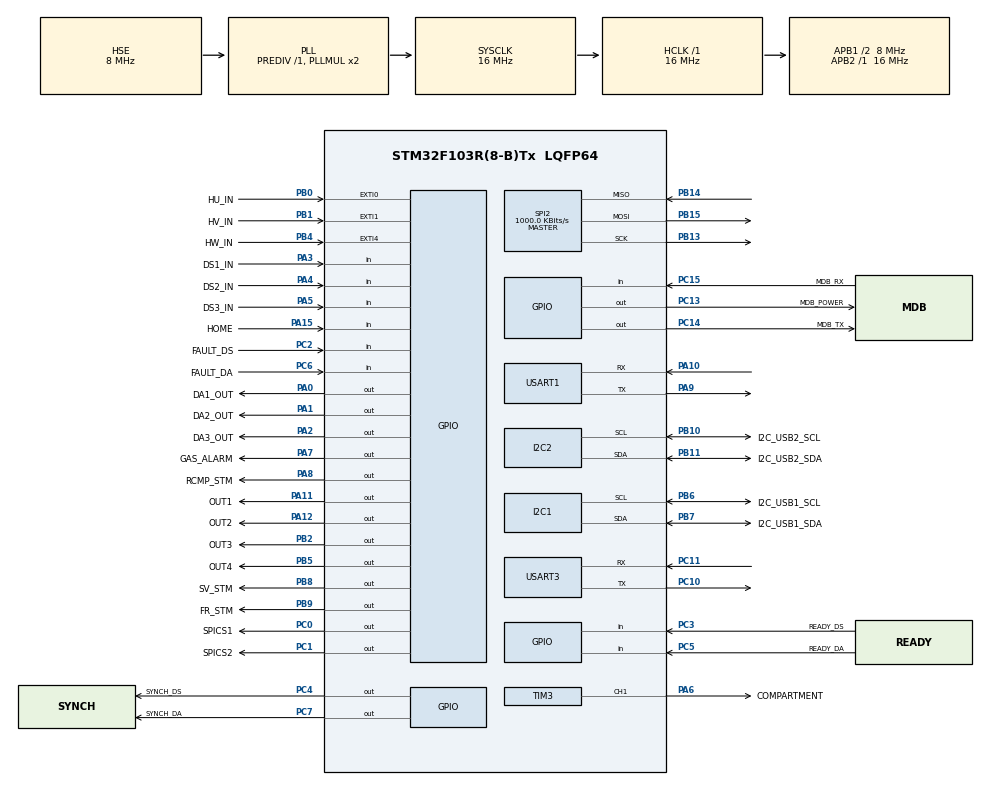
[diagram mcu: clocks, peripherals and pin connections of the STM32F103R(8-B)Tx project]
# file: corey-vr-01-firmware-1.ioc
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Dma.Request0=USART1_TX
Dma.Request1=USART3_TX
Dma.Request2=USART1_RX
Dma.Request3=USART3_RX
Dma.USART1_RX.2.Direction=DMA_PERIPH_TO_MEMORY
Dma.USART1_RX.2.Instance=DMA1_Channel5
Dma.USART1_RX.2.MemDataAlignment=DMA_MDATAALIGN_BYTE
Dma.USART1_RX.2.MemInc=DMA_MINC_ENABLE
Dma.USART1_RX.2.Mode=DMA_CIRCULAR
Dma.USART1_RX.2.PeriphDataAlignment=DMA_PDATAALIGN_BYTE
Dma.USART1_RX.2.PeriphInc=DMA_PINC_DISABLE
Dma.USART1_RX.2.Priority=DMA_PRIORITY_LOW
Dma.USART1_TX.0.Direction=DMA_MEMORY_TO_PERIPH
Dma.USART1_TX.0.Instance=DMA1_Channel4
Dma.USART1_TX.0.MemDataAlignment=DMA_MDATAALIGN_BYTE
Dma.USART1_TX.0.MemInc=DMA_MINC_ENABLE
Dma.USART1_TX.0.Mode=DMA_NORMAL
Dma.USART1_TX.0.PeriphDataAlignment=DMA_PDATAALIGN_BYTE
Dma.USART1_TX.0.PeriphInc=DMA_PINC_DISABLE
Dma.USART1_TX.0.Priority=DMA_PRIORITY_LOW
Dma.USART3_RX.3.Direction=DMA_PERIPH_TO_MEMORY
Dma.USART3_RX.3.Instance=DMA1_Channel3
Dma.USART3_RX.3.MemDataAlignment=DMA_MDATAALIGN_BYTE
Dma.USART3_RX.3.MemInc=DMA_MINC_ENABLE
Dma.USART3_RX.3.Mode=DMA_CIRCULAR
Dma.USART3_RX.3.PeriphDataAlignment=DMA_PDATAALIGN_BYTE
Dma.USART3_RX.3.PeriphInc=DMA_PINC_DISABLE
Dma.USART3_RX.3.Priority=DMA_PRIORITY_LOW
Dma.USART3_TX.1.Direction=DMA_MEMORY_TO_PERIPH
Dma.USART3_TX.1.Instance=DMA1_Channel2
Dma.USART3_TX.1.MemDataAlignment=DMA_MDATAALIGN_BYTE
Dma.USART3_TX.1.MemInc=DMA_MINC_ENABLE
Dma.USART3_TX.1.Mode=DMA_NORMAL
Dma.USART3_TX.1.PeriphDataAlignment=DMA_PDATAALIGN_BYTE
Dma.USART3_TX.1.PeriphInc=DMA_PINC_DISABLE
Dma.USART3_TX.1.Priority=DMA_PRIORITY_LOW
Mcu.Family=STM32F1
Mcu.Name=STM32F103R(8-B)Tx
Mcu.Package=LQFP64
NVIC.DMA1_Channel2_IRQn=true\:0\:0\:false\:false\:true\:false\:true\:true
NVIC.DMA1_Channel3_IRQn=true\:0\:0\:false\:false\:true\:false\:true\:true
NVIC.DMA1_Channel4_IRQn=true\:0\:0\:false\:false\:true\:false\:true\:true
NVIC.DMA1_Channel5_IRQn=true\:0\:0\:false\:false\:true\:false\:true\:true
NVIC.EXTI0_IRQn=true\:5\:0\:true\:false\:true\:true\:true\:true
NVIC.EXTI1_IRQn=true\:5\:0\:true\:false\:true\:true\:true\:true
NVIC.EXTI4_IRQn=true\:5\:0\:true\:false\:true\:true\:true\:true
NVIC.PriorityGroup=NVIC_PRIORITYGROUP_4
NVIC.USART1_IRQn=true\:0\:0\:false\:false\:true\:true\:true\:true
NVIC.USART3_IRQn=true\:0\:0\:false\:false\:true\:true\:true\:true
PA0-WKUP.GPIO_Label=DA1_OUT
PA0-WKUP.Signal=GPIO_Output
PA1.GPIO_Label=DA2_OUT
PA1.Signal=GPIO_Output
PA10.Mode=Asynchronous
PA10.Signal=USART1_RX
PA11.GPIO_Label=OUT1
PA11.Signal=GPIO_Output
PA12.GPIO_Label=OUT2
PA12.Signal=GPIO_Output
PA13.Mode=Trace_Asynchronous_SW
PA13.Signal=SYS_JTMS-SWDIO
PA14.Mode=Trace_Asynchronous_SW
PA14.Signal=SYS_JTCK-SWCLK
PA15.GPIO_Label=HOME
PA15.Signal=GPIO_Input
PA2.GPIO_Label=DA3_OUT
PA2.Signal=GPIO_Output
PA3.GPIO_Label=DS1_IN
PA3.Signal=GPIO_Input
PA4.GPIO_Label=DS2_IN
PA4.Signal=GPIO_Input
PA5.GPIO_Label=DS3_IN
PA5.Signal=GPIO_Input
PA6.GPIO_Label=COMPARTMENT
PA6.Signal=S_TIM3_CH1
PA7.GPIO_Label=GAS_ALARM
PA7.Signal=GPIO_Output
PA8.GPIO_Label=RCMP_STM
PA8.Signal=GPIO_Output
PA9.Mode=Asynchronous
PA9.Signal=USART1_TX
PB0.GPIO_Label=HU_IN
PB0.GPIO_ModeDefaultEXTI=GPIO_MODE_IT_RISING
PB0.Signal=GPXTI0
PB1.GPIO_Label=HV_IN
PB1.GPIO_ModeDefaultEXTI=GPIO_MODE_IT_RISING
PB1.Signal=GPXTI1
PB10.GPIO_Label=I2C_USB2_SCL
PB10.Mode=I2C
PB10.Signal=I2C2_SCL
PB11.GPIO_Label=I2C_USB2_SDA
PB11.Mode=I2C
PB11.Signal=I2C2_SDA
PB13.Mode=Full_Duplex_Master
PB13.Signal=SPI2_SCK
PB14.Mode=Full_Duplex_Master
PB14.Signal=SPI2_MISO
PB15.Mode=Full_Duplex_Master
PB15.Signal=SPI2_MOSI
PB2.GPIO_Label=OUT3
PB2.Signal=GPIO_Output
PB3.Mode=Trace_Asynchronous_SW
PB3.Signal=SYS_JTDO-TRACESWO
PB4.GPIO_Label=HW_IN
PB4.GPIO_ModeDefaultEXTI=GPIO_MODE_IT_RISING
PB4.Signal=GPXTI4
PB5.GPIO_Label=OUT4
PB5.Signal=GPIO_Output
PB6.GPIO_Label=I2C_USB1_SCL
PB6.Mode=I2C
PB6.Signal=I2C1_SCL
PB7.GPIO_Label=I2C_USB1_SDA
PB7.Mode=I2C
PB7.Signal=I2C1_SDA
PB8.GPIO_Label=SV_STM
PB8.Signal=GPIO_Output
PB9.GPIO_Label=FR_STM
PB9.Signal=GPIO_Output
PC0.GPIO_Label=SPICS1
PC0.Signal=GPIO_Output
PC1.GPIO_Label=SPICS2
PC1.Signal=GPIO_Output
PC10.Mode=Asynchronous
PC10.Signal=USART3_TX
PC11.Mode=Asynchronous
PC11.Signal=USART3_RX
PC13-TAMPER-RTC.GPIO_Label=MDB_POWER
PC13-TAMPER-RTC.Signal=GPIO_Output
PC14-OSC32_IN.GPIO_Label=MDB_TX
PC14-OSC32_IN.Signal=GPIO_Output
PC15-OSC32_OUT.GPIO_Label=MDB_RX
PC15-OSC32_OUT.Signal=GPIO_Input
PC2.GPIO_Label=FAULT_DS
PC2.Signal=GPIO_Input
PC3.GPIO_Label=READY_DS
PC3.Signal=GPIO_Input
PC4.GPIO_Label=SYNCH_DS
PC4.Signal=GPIO_Output
PC5.GPIO_Label=READY_DA
PC5.Signal=GPIO_Input
PC6.GPIO_Label=FAULT_DA
PC6.Signal=GPIO_Input
PC7.GPIO_Label=SYNCH_DA
PC7.Signal=GPIO_Output
PD0-OSC_IN.Mode=HSE-External-Oscillator
PD0-OSC_IN.Signal=RCC_OSC_IN
PD1-OSC_OUT.Mode=HSE-External-Oscillator
PD1-OSC_OUT.Signal=RCC_OSC_OUT
ProjectManager.HeapSize=0x200
ProjectManager.StackSize=0x400
ProjectManager.TargetToolchain=CMake
RCC.AHBFreq_Value=16000000
RCC.APB1CLKDivider=RCC_HCLK_DIV2
RCC.APB1Freq_Value=8000000
RCC.APB1TimFreq_Value=16000000
RCC.APB2Freq_Value=16000000
RCC.APB2TimFreq_Value=16000000
RCC.HCLKFreq_Value=16000000
RCC.PLLSourceVirtual=RCC_PLLSOURCE_HSE
RCC.SYSCLKFreq_VALUE=16000000
RCC.SYSCLKSource=RCC_SYSCLKSOURCE_PLLCLK
RCC.USBFreq_Value=16000000
SH.S_TIM3_CH1.0=TIM3_CH1,PWM Generation1 CH1
SPI2.BaudRatePrescaler=SPI_BAUDRATEPRESCALER_8
SPI2.CLKPolarity=SPI_POLARITY_LOW
SPI2.CalculateBaudRate=1000.0 KBits/s
SPI2.Direction=SPI_DIRECTION_2LINES
SPI2.Mode=SPI_MODE_MASTER
SPI2.VirtualType=VM_MASTER
TIM3.AutoReloadPreload=TIM_AUTORELOAD_PRELOAD_ENABLE
TIM3.Channel-PWM\ Generation1\ CH1=TIM_CHANNEL_1
USART1.VirtualMode=VM_ASYNC
USART3.VirtualMode=VM_ASYNC
VP_TIM3_VS_ClockSourceINT.Mode=Internal
board=custom

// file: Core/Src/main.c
/* USER CODE BEGIN Header */
/**
  ******************************************************************************
  * @file           : main.c
  * @brief          : Main program body
  ******************************************************************************
  * @attention
  *
  * Copyright (c) 2024 STMicroelectronics.
  * All rights reserved.
  *
  * This software is licensed under terms that can be found in the LICENSE file
  * in the root directory of this software component.
  * If no LICENSE file comes with this software, it is provided AS-IS.
  *
  ******************************************************************************
  */
/* USER CODE END Header */
#include "main.h"

/* USER CODE BEGIN Includes */
#include <stdint.h>
#include <stdbool.h>
#include <string.h>
#include "commands.h"

/* USER CODE END Includes */

I2C_HandleTypeDef hi2c1;
I2C_HandleTypeDef hi2c2;

SPI_HandleTypeDef hspi2;

TIM_HandleTypeDef htim3;

UART_HandleTypeDef huart1;
UART_HandleTypeDef huart3;
DMA_HandleTypeDef hdma_usart1_tx;
DMA_HandleTypeDef hdma_usart1_rx;
DMA_HandleTypeDef hdma_usart3_tx;
DMA_HandleTypeDef hdma_usart3_rx;

/* USER CODE BEGIN PV */
uint8_t tx[16];
uint8_t rx[16];
HAL_StatusTypeDef status;

uint64_t hu_counter;
uint64_t hv_counter;
uint64_t hw_counter;

UART_HandleTypeDef *uart = &huart1;
SPI_HandleTypeDef *spi = &hspi2;

uint8_t dma_buffer[REQUEST_BUFFER_LENGTH];
char request_buffer[REQUEST_BUFFER_LENGTH];
char response_buffer[RESPONSE_BUFFER_LENGTH];
bool request_received = false;

/* USER CODE END PV */

void SystemClock_Config(void);
static void MX_GPIO_Init(void);
static void MX_DMA_Init(void);
static void MX_USART1_UART_Init(void);
static void MX_I2C1_Init(void);
static void MX_I2C2_Init(void);
static void MX_TIM3_Init(void);
static void MX_SPI2_Init(void);
static void MX_USART3_UART_Init(void);

/* USER CODE BEGIN 0 */

// IRQ HU. HV. HW
void increment(int pin) {
    switch (pin) {
        case HU_IN_Pin:
            hu_counter++;
            break;
        case HV_IN_Pin:
            hv_counter++;
            break;
        case HW_IN_Pin:
            hw_counter++;
            break;
        default:
            break;
    }
}

// Serial comms
static void process_char(char ch) {
    static int index = 0;

    if (ch == '\r') {
        request_buffer[index] = '\0';
        index = 0;
        request_received = true;
    } else {
        request_buffer[index++] = ch;
    }
}

void HAL_UARTEx_RxEventCallback(UART_HandleTypeDef *usart, uint16_t offset) {
    static uint16_t last_offset = 0;

    if (offset != last_offset) {
        if (offset < last_offset) {
            while (last_offset < sizeof(dma_buffer)) {
                process_char(dma_buffer[last_offset++]);
            }
            last_offset = 0;
        }
        while (last_offset < offset) {
            process_char(dma_buffer[last_offset++]);
        }
    }
}

/* USER CODE END 0 */

int main(void)
{

  /* MCU Configuration--------------------------------------------------------*/

  /* Reset of all peripherals, Initializes the Flash interface and the Systick. */
  HAL_Init();

  /* Configure the system clock */
  SystemClock_Config();

  /* Initialize all configured peripherals */
  MX_GPIO_Init();
  MX_DMA_Init();
  MX_USART1_UART_Init();
  MX_I2C1_Init();
  MX_I2C2_Init();
  MX_TIM3_Init();
  MX_SPI2_Init();
  MX_USART3_UART_Init();
  /* USER CODE BEGIN 2 */

    HAL_GPIO_WritePin(DA1_OUT_GPIO_Port, DA1_OUT_Pin, GPIO_PIN_SET); // DA1=ON
    HAL_GPIO_WritePin(DA1_OUT_GPIO_Port, DA1_OUT_Pin, GPIO_PIN_RESET); // DA2=OFF
    HAL_GPIO_WritePin(DA1_OUT_GPIO_Port, DA1_OUT_Pin, GPIO_PIN_SET); // DA3=ON

    HAL_GPIO_WritePin(SPICS1_GPIO_Port, SPICS1_Pin, GPIO_PIN_SET); // deselect CS1
    HAL_GPIO_WritePin(SPICS2_GPIO_Port, SPICS2_Pin, GPIO_PIN_SET); // deselect CS2
    // tx[0] = (0x0A << 1) | 1;
    // tx[1] = 0x50;
    // HAL_SPI_TransmitReceive(&hspi2, tx, rx, 2, 10);

    HAL_GPIO_WritePin(SYNCH_DA_GPIO_Port, SYNCH_DA_Pin, GPIO_PIN_SET);
    // Enables D[1..4] inputs directly to outputs on MAX14906
    HAL_UARTEx_ReceiveToIdle_DMA(uart, dma_buffer, sizeof(dma_buffer)); // Start receiving commands from CM4

  /* USER CODE END 2 */

  /* Infinite loop */
  /* USER CODE BEGIN WHILE */
    while (1) {
        if (request_received) {
            cmd_execute(request_buffer, response_buffer);
            HAL_UART_Transmit_DMA(uart, response_buffer, strlen(response_buffer));
            request_received = false;
        }
    /* USER CODE END WHILE */

    /* USER CODE BEGIN 3 */
        HAL_GPIO_TogglePin(SV_STM_GPIO_Port, SV_STM_Pin);
        HAL_Delay(200);
    }
  /* USER CODE END 3 */
}

void SystemClock_Config(void)
{
  RCC_OscInitTypeDef RCC_OscInitStruct = {0};
  RCC_ClkInitTypeDef RCC_ClkInitStruct = {0};

  /** Initializes the RCC Oscillators according to the specified parameters
  * in the RCC_OscInitTypeDef structure.
  */
  RCC_OscInitStruct.OscillatorType = RCC_OSCILLATORTYPE_HSE;
  RCC_OscInitStruct.HSEState = RCC_HSE_ON;
  RCC_OscInitStruct.HSEPredivValue = RCC_HSE_PREDIV_DIV1;
  RCC_OscInitStruct.HSIState = RCC_HSI_ON;
  RCC_OscInitStruct.PLL.PLLState = RCC_PLL_ON;
  RCC_OscInitStruct.PLL.PLLSource = RCC_PLLSOURCE_HSE;
  RCC_OscInitStruct.PLL.PLLMUL = RCC_PLL_MUL2;
  if (HAL_RCC_OscConfig(&RCC_OscInitStruct) != HAL_OK)
  {
    Error_Handler();
  }

  /** Initializes the CPU, AHB and APB buses clocks
  */
  RCC_ClkInitStruct.ClockType = RCC_CLOCKTYPE_HCLK|RCC_CLOCKTYPE_SYSCLK
                              |RCC_CLOCKTYPE_PCLK1|RCC_CLOCKTYPE_PCLK2;
  RCC_ClkInitStruct.SYSCLKSource = RCC_SYSCLKSOURCE_PLLCLK;
  RCC_ClkInitStruct.AHBCLKDivider = RCC_SYSCLK_DIV1;
  RCC_ClkInitStruct.APB1CLKDivider = RCC_HCLK_DIV2;
  RCC_ClkInitStruct.APB2CLKDivider = RCC_HCLK_DIV1;

  if (HAL_RCC_ClockConfig(&RCC_ClkInitStruct, FLASH_LATENCY_0) != HAL_OK)
  {
    Error_Handler();
  }
}

static void MX_I2C1_Init(void)
{

  hi2c1.Instance = I2C1;
  hi2c1.Init.ClockSpeed = 100000;
  hi2c1.Init.DutyCycle = I2C_DUTYCYCLE_2;
  hi2c1.Init.OwnAddress1 = 0;
  hi2c1.Init.AddressingMode = I2C_ADDRESSINGMODE_7BIT;
  hi2c1.Init.DualAddressMode = I2C_DUALADDRESS_DISABLE;
  hi2c1.Init.OwnAddress2 = 0;
  hi2c1.Init.GeneralCallMode = I2C_GENERALCALL_DISABLE;
  hi2c1.Init.NoStretchMode = I2C_NOSTRETCH_DISABLE;
  if (HAL_I2C_Init(&hi2c1) != HAL_OK)
  {
    Error_Handler();
  }

}

static void MX_I2C2_Init(void)
{

  hi2c2.Instance = I2C2;
  hi2c2.Init.ClockSpeed = 100000;
  hi2c2.Init.DutyCycle = I2C_DUTYCYCLE_2;
  hi2c2.Init.OwnAddress1 = 0;
  hi2c2.Init.AddressingMode = I2C_ADDRESSINGMODE_7BIT;
  hi2c2.Init.DualAddressMode = I2C_DUALADDRESS_DISABLE;
  hi2c2.Init.OwnAddress2 = 0;
  hi2c2.Init.GeneralCallMode = I2C_GENERALCALL_DISABLE;
  hi2c2.Init.NoStretchMode = I2C_NOSTRETCH_DISABLE;
  if (HAL_I2C_Init(&hi2c2) != HAL_OK)
  {
    Error_Handler();
  }

}

static void MX_SPI2_Init(void)
{

  /* SPI2 parameter configuration*/
  hspi2.Instance = SPI2;
  hspi2.Init.Mode = SPI_MODE_MASTER;
  hspi2.Init.Direction = SPI_DIRECTION_2LINES;
  hspi2.Init.DataSize = SPI_DATASIZE_8BIT;
  hspi2.Init.CLKPolarity = SPI_POLARITY_LOW;
  hspi2.Init.CLKPhase = SPI_PHASE_1EDGE;
  hspi2.Init.NSS = SPI_NSS_SOFT;
  hspi2.Init.BaudRatePrescaler = SPI_BAUDRATEPRESCALER_8;
  hspi2.Init.FirstBit = SPI_FIRSTBIT_MSB;
  hspi2.Init.TIMode = SPI_TIMODE_DISABLE;
  hspi2.Init.CRCCalculation = SPI_CRCCALCULATION_DISABLE;
  hspi2.Init.CRCPolynomial = 10;
  if (HAL_SPI_Init(&hspi2) != HAL_OK)
  {
    Error_Handler();
  }

}

static void MX_TIM3_Init(void)
{

  TIM_ClockConfigTypeDef sClockSourceConfig = {0};
  TIM_MasterConfigTypeDef sMasterConfig = {0};
  TIM_OC_InitTypeDef sConfigOC = {0};

  htim3.Instance = TIM3;
  htim3.Init.Prescaler = 0;
  htim3.Init.CounterMode = TIM_COUNTERMODE_UP;
  htim3.Init.Period = 65535;
  htim3.Init.ClockDivision = TIM_CLOCKDIVISION_DIV1;
  htim3.Init.AutoReloadPreload = TIM_AUTORELOAD_PRELOAD_ENABLE;
  if (HAL_TIM_Base_Init(&htim3) != HAL_OK)
  {
    Error_Handler();
  }
  sClockSourceConfig.ClockSource = TIM_CLOCKSOURCE_INTERNAL;
  if (HAL_TIM_ConfigClockSource(&htim3, &sClockSourceConfig) != HAL_OK)
  {
    Error_Handler();
  }
  if (HAL_TIM_PWM_Init(&htim3) != HAL_OK)
  {
    Error_Handler();
  }
  sMasterConfig.MasterOutputTrigger = TIM_TRGO_RESET;
  sMasterConfig.MasterSlaveMode = TIM_MASTERSLAVEMODE_DISABLE;
  if (HAL_TIMEx_MasterConfigSynchronization(&htim3, &sMasterConfig) != HAL_OK)
  {
    Error_Handler();
  }
  sConfigOC.OCMode = TIM_OCMODE_PWM1;
  sConfigOC.Pulse = 0;
  sConfigOC.OCPolarity = TIM_OCPOLARITY_HIGH;
  sConfigOC.OCFastMode = TIM_OCFAST_DISABLE;
  if (HAL_TIM_PWM_ConfigChannel(&htim3, &sConfigOC, TIM_CHANNEL_1) != HAL_OK)
  {
    Error_Handler();
  }
  HAL_TIM_MspPostInit(&htim3);

}

static void MX_USART1_UART_Init(void)
{

  huart1.Instance = USART1;
  huart1.Init.BaudRate = 115200;
  huart1.Init.WordLength = UART_WORDLENGTH_8B;
  huart1.Init.StopBits = UART_STOPBITS_1;
  huart1.Init.Parity = UART_PARITY_NONE;
  huart1.Init.Mode = UART_MODE_TX_RX;
  huart1.Init.HwFlowCtl = UART_HWCONTROL_NONE;
  huart1.Init.OverSampling = UART_OVERSAMPLING_16;
  if (HAL_UART_Init(&huart1) != HAL_OK)
  {
    Error_Handler();
  }

}

static void MX_USART3_UART_Init(void)
{

  huart3.Instance = USART3;
  huart3.Init.BaudRate = 115200;
  huart3.Init.WordLength = UART_WORDLENGTH_8B;
  huart3.Init.StopBits = UART_STOPBITS_1;
  huart3.Init.Parity = UART_PARITY_NONE;
  huart3.Init.Mode = UART_MODE_TX_RX;
  huart3.Init.HwFlowCtl = UART_HWCONTROL_NONE;
  huart3.Init.OverSampling = UART_OVERSAMPLING_16;
  if (HAL_UART_Init(&huart3) != HAL_OK)
  {
    Error_Handler();
  }

}

static void MX_DMA_Init(void)
{

  /* DMA controller clock enable */
  __HAL_RCC_DMA1_CLK_ENABLE();

  /* DMA interrupt init */
  /* DMA1_Channel2_IRQn interrupt configuration */
  HAL_NVIC_SetPriority(DMA1_Channel2_IRQn, 0, 0);
  HAL_NVIC_EnableIRQ(DMA1_Channel2_IRQn);
  /* DMA1_Channel3_IRQn interrupt configuration */
  HAL_NVIC_SetPriority(DMA1_Channel3_IRQn, 0, 0);
  HAL_NVIC_EnableIRQ(DMA1_Channel3_IRQn);
  /* DMA1_Channel4_IRQn interrupt configuration */
  HAL_NVIC_SetPriority(DMA1_Channel4_IRQn, 0, 0);
  HAL_NVIC_EnableIRQ(DMA1_Channel4_IRQn);
  /* DMA1_Channel5_IRQn interrupt configuration */
  HAL_NVIC_SetPriority(DMA1_Channel5_IRQn, 0, 0);
  HAL_NVIC_EnableIRQ(DMA1_Channel5_IRQn);

}

static void MX_GPIO_Init(void)
{
  GPIO_InitTypeDef GPIO_InitStruct = {0};

  /* GPIO Ports Clock Enable */
  __HAL_RCC_GPIOC_CLK_ENABLE();
  __HAL_RCC_GPIOD_CLK_ENABLE();
  __HAL_RCC_GPIOA_CLK_ENABLE();
  __HAL_RCC_GPIOB_CLK_ENABLE();

  /*Configure GPIO pin Output Level */
  HAL_GPIO_WritePin(GPIOC, MDB_POWER_Pin|MDB_TX_Pin|SPICS1_Pin|SPICS2_Pin
                          |SYNCH_DS_Pin|SYNCH_DA_Pin, GPIO_PIN_RESET);

  /*Configure GPIO pin Output Level */
  HAL_GPIO_WritePin(GPIOA, DA1_OUT_Pin|DA2_OUT_Pin|DA3_OUT_Pin|GAS_ALARM_Pin
                          |RCMP_STM_Pin|OUT1_Pin|OUT2_Pin, GPIO_PIN_RESET);

  /*Configure GPIO pin Output Level */
  HAL_GPIO_WritePin(GPIOB, OUT3_Pin|OUT4_Pin|SV_STM_Pin|FR_STM_Pin, GPIO_PIN_RESET);

  /*Configure GPIO pins : MDB_POWER_Pin MDB_TX_Pin SPICS1_Pin SPICS2_Pin
                           SYNCH_DS_Pin SYNCH_DA_Pin */
  GPIO_InitStruct.Pin = MDB_POWER_Pin|MDB_TX_Pin|SPICS1_Pin|SPICS2_Pin
                          |SYNCH_DS_Pin|SYNCH_DA_Pin;
  GPIO_InitStruct.Mode = GPIO_MODE_OUTPUT_PP;
  GPIO_InitStruct.Pull = GPIO_NOPULL;
  GPIO_InitStruct.Speed = GPIO_SPEED_FREQ_LOW;
  HAL_GPIO_Init(GPIOC, &GPIO_InitStruct);

  /*Configure GPIO pins : MDB_RX_Pin FAULT_DS_Pin READY_DS_Pin READY_DA_Pin
                           FAULT_DA_Pin */
  GPIO_InitStruct.Pin = MDB_RX_Pin|FAULT_DS_Pin|READY_DS_Pin|READY_DA_Pin
                          |FAULT_DA_Pin;
  GPIO_InitStruct.Mode = GPIO_MODE_INPUT;
  GPIO_InitStruct.Pull = GPIO_NOPULL;
  HAL_GPIO_Init(GPIOC, &GPIO_InitStruct);

  /*Configure GPIO pins : DA1_OUT_Pin DA2_OUT_Pin DA3_OUT_Pin GAS_ALARM_Pin
                           RCMP_STM_Pin OUT1_Pin OUT2_Pin */
  GPIO_InitStruct.Pin = DA1_OUT_Pin|DA2_OUT_Pin|DA3_OUT_Pin|GAS_ALARM_Pin
                          |RCMP_STM_Pin|OUT1_Pin|OUT2_Pin;
  GPIO_InitStruct.Mode = GPIO_MODE_OUTPUT_PP;
  GPIO_InitStruct.Pull = GPIO_NOPULL;
  GPIO_InitStruct.Speed = GPIO_SPEED_FREQ_LOW;
  HAL_GPIO_Init(GPIOA, &GPIO_InitStruct);

  /*Configure GPIO pins : DS1_IN_Pin DS2_IN_Pin DS3_IN_Pin HOME_Pin */
  GPIO_InitStruct.Pin = DS1_IN_Pin|DS2_IN_Pin|DS3_IN_Pin|HOME_Pin;
  GPIO_InitStruct.Mode = GPIO_MODE_INPUT;
  GPIO_InitStruct.Pull = GPIO_NOPULL;
  HAL_GPIO_Init(GPIOA, &GPIO_InitStruct);

  /*Configure GPIO pins : HU_IN_Pin HV_IN_Pin HW_IN_Pin */
  GPIO_InitStruct.Pin = HU_IN_Pin|HV_IN_Pin|HW_IN_Pin;
  GPIO_InitStruct.Mode = GPIO_MODE_IT_RISING;
  GPIO_InitStruct.Pull = GPIO_NOPULL;
  HAL_GPIO_Init(GPIOB, &GPIO_InitStruct);

  /*Configure GPIO pins : OUT3_Pin OUT4_Pin SV_STM_Pin FR_STM_Pin */
  GPIO_InitStruct.Pin = OUT3_Pin|OUT4_Pin|SV_STM_Pin|FR_STM_Pin;
  GPIO_InitStruct.Mode = GPIO_MODE_OUTPUT_PP;
  GPIO_InitStruct.Pull = GPIO_NOPULL;
  GPIO_InitStruct.Speed = GPIO_SPEED_FREQ_LOW;
  HAL_GPIO_Init(GPIOB, &GPIO_InitStruct);

  /*Configure GPIO pin : PB12 */
  GPIO_InitStruct.Pin = GPIO_PIN_12;
  GPIO_InitStruct.Mode = GPIO_MODE_ANALOG;
  HAL_GPIO_Init(GPIOB, &GPIO_InitStruct);

  /*Configure GPIO pins : PC8 PC9 PC12 */
  GPIO_InitStruct.Pin = GPIO_PIN_8|GPIO_PIN_9|GPIO_PIN_12;
  GPIO_InitStruct.Mode = GPIO_MODE_ANALOG;
  HAL_GPIO_Init(GPIOC, &GPIO_InitStruct);

  /*Configure GPIO pin : PD2 */
  GPIO_InitStruct.Pin = GPIO_PIN_2;
  GPIO_InitStruct.Mode = GPIO_MODE_ANALOG;
  HAL_GPIO_Init(GPIOD, &GPIO_InitStruct);

  /* EXTI interrupt init*/
  HAL_NVIC_SetPriority(EXTI0_IRQn, 5, 0);
  HAL_NVIC_EnableIRQ(EXTI0_IRQn);

  HAL_NVIC_SetPriority(EXTI1_IRQn, 5, 0);
  HAL_NVIC_EnableIRQ(EXTI1_IRQn);

  HAL_NVIC_SetPriority(EXTI4_IRQn, 5, 0);
  HAL_NVIC_EnableIRQ(EXTI4_IRQn);

}

void Error_Handler(void)
{
    __disable_irq();
    while (1) {
    }
}
